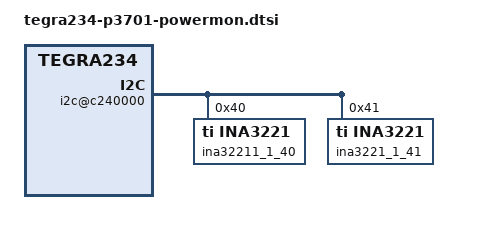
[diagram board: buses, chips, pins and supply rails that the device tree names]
/*
 * Copyright (c) 2021, NVIDIA CORPORATION.  All rights reserved.
 *
 * This program is free software; you can redistribute it and/or modify
 * it under the terms of the GNU General Public License as published by
 * the Free Software Foundation; version 2 of the License.
 *
 * This program is distributed in the hope that it will be useful, but WITHOUT
 * ANY WARRANTY; without even the implied warranty of MERCHANTABILITY or
 * FITNESS FOR A PARTICULAR PURPOSE.  See the GNU General Public License for
 * more details.
 */

/ {
	i2c@c240000 {
		ina32211_1_40: ina3221@40 {
			compatible = "ti,ina3221";
			reg = <0x40>;
			#address-cells = <1>;
			#size-cells = <0>;
			#io-channel-cells = <1>;
			channel@0 {
				reg = <0x0>;
				label = "VDD_GPU_SOC";
				shunt-resistor-micro-ohms = <2000>;
			};
			channel@1 {
				reg = <0x1>;
				label = "VDD_CPU_CV";
				shunt-resistor-micro-ohms = <2000>;
			};
			channel@2 {
				reg = <0x2>;
				label = "VIN_SYS_5V0";
				shunt-resistor-micro-ohms = <2000>;
			};
		};

		ina3221_1_41: ina3221@41 {
			compatible = "ti,ina3221";
			reg = <0x41>;
			#address-cells = <1>;
			#size-cells = <0>;
			#io-channel-cells = <1>;
			channel@0 {
				reg = <0x0>;
				label = "NC";
			};
			channel@1 {
				reg = <0x1>;
				label = "VDDQ_VDD2_1V8AO";
				shunt-resistor-micro-ohms = <2000>;
			};
			channel@2 {
				reg = <0x2>;
				label = "NC";
			};
		};
	};
};
